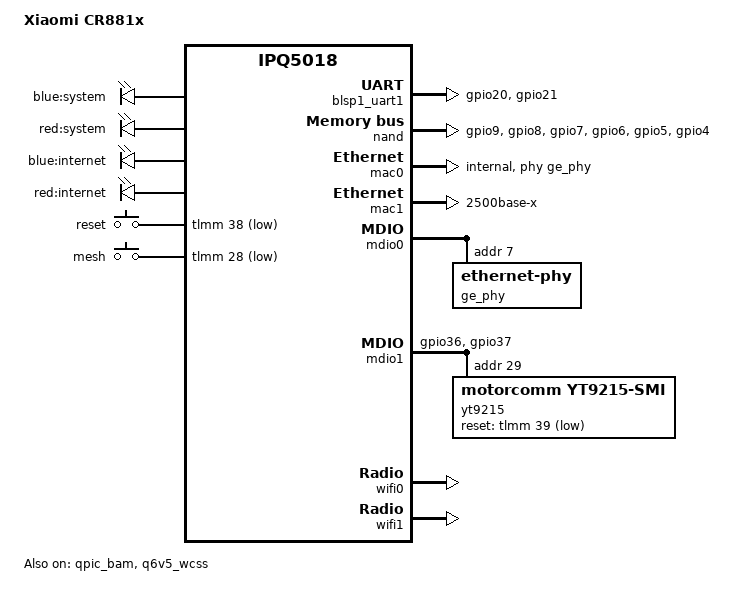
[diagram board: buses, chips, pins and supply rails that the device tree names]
// SPDX-License-Identifier: (GPL-2.0+)

/dts-v1/;

#include "ipq5018.dtsi"
#include <dt-bindings/gpio/gpio.h>
#include <dt-bindings/input/input.h>

/ {
	model = "Xiaomi CR881x";
	compatible = "xiaomi,cr881x", "qcom,ipq5018";

	#address-cells = <2>;
	#size-cells = <2>;
	interrupt-parent = <&intc>;

	aliases {
		serial0 = &blsp1_uart1;

		ethernet0 = &mac0;
		ethernet1 = &mac1;

		led-boot = &led_system_blue;
		led-failsafe = &led_system_red;
		led-running = &led_system_blue;
		led-upgrade = &led_system_red;
	};

	chosen {
		// Override the root parameter from u-boot
		// Increase coherent_pool size for WiFi
		bootargs-append = " root=/dev/ubiblock0_1 coherent_pool=2M";
		stdout-path = "serial0:115200n8";
	};

	reserved-memory {
		// Not sure why but without this, WiFi will crash
		tz_apps@4a400000 {
			no-map;
			// The size is incorrent, but it works
			reg = <0x0 0x4a400000 0x0 0x700000>;
		};

		q6_mem_regions: q6_mem_regions@4b000000 {
			no-map;
			// reg = <0x0 0x4b000000 0x0 0x3b00000>;
			reg = <0x0 0x4b000000 0x0 0x3000000>;
		};
	};

	thermal-zones {
		status = "ok";
	};
};

&tlmm {
	blsp_uart0_pins: blsp_uart0_pins {
		pins =
			"gpio20", // RX
			"gpio21"; // TX
		function = "blsp0_uart0";
		drive-strength = <8>;
		bias-disable;
	};

	qspi_nand_pins: qspi_nand_pins {
		clock {
			pins = "gpio9";
			function = "qspi_clk";
			drive-strength = <8>;
			bias-disable;
		};

		cs {
			pins = "gpio8";
			function = "qspi_cs";
			drive-strength = <8>;
			bias-disable;
		};

		data0 {
			pins = "gpio7";
			function = "qspi0";
			drive-strength = <8>;
			bias-disable;
		};

		data1 {
			pins = "gpio6";
			function = "qspi1";
			drive-strength = <8>;
			bias-disable;
		};

		data2 {
			pins = "gpio5";
			function = "qspi2";
			drive-strength = <8>;
			bias-disable;
		};

		data3 {
			pins = "gpio4";
			function = "qspi3";
			drive-strength = <8>;
			bias-disable;
		};
	};

	mdio1_pins: mdio1_pins {
		mdc {
			pins = "gpio36";
			function = "mdc";
			drive-strength = <8>;
			bias-pull-up;
		};

		mdio {
			pins = "gpio37";
			function = "mdio";
			drive-strength = <8>;
			bias-pull-up;
		};
	};

	leds_pins: leds_pins {
		led_system_blue {
			pins = "gpio24";
			function = "gpio";
			drive-strength = <8>;
			bias-pull-down;
		};

		led_system_red {
			pins = "gpio25";
			function = "gpio";
			drive-strength = <8>;
			bias-pull-down;
		};

		led_internet_blue {
			pins = "gpio26";
			function = "gpio";
			drive-strength = <8>;
			bias-pull-down;
		};

		led_internet_red {
			pins = "gpio27";
			function = "gpio";
			drive-strength = <8>;
			bias-pull-down;
		};
	};

	button_pins: button_pins {
		button_reset {
			pins = "gpio38";
			function = "gpio";
			drive-strength = <8>;
			bias-pull-up;
		};

		button_mesh {
			pins = "gpio28";
			function = "gpio";
			drive-strength = <8>;
			bias-pull-up;
		};
	};
};

&blsp1_uart1 {
	pinctrl-0 = <&blsp_uart0_pins>;
	pinctrl-names = "default";
	status = "ok";
};

&qpic_bam {
	status = "ok";
};

&nand {
	pinctrl-0 = <&qspi_nand_pins>;
	pinctrl-names = "default";
	status = "ok";
};

&soc {
	leds {
		compatible = "gpio-leds";
		pinctrl-0 = <&leds_pins>;
		pinctrl-names = "default";

		led_system_blue: led_system_blue {
			label = "blue:system";
			gpio = <&tlmm 24 GPIO_ACTIVE_HIGH>;
			default-state = "on";
		};

		led_system_red: led_system_red {
			label = "red:system";
			gpio = <&tlmm 25 GPIO_ACTIVE_HIGH>;
		};

		led_internet_blue: led_internet_blue {
			label = "blue:internet";
			gpio = <&tlmm 26 GPIO_ACTIVE_HIGH>;
		};

		led_internet_red: led_internet_red {
			label = "red:internet";
			gpio = <&tlmm 27 GPIO_ACTIVE_HIGH>;
		};
	};

	button {
		compatible = "gpio-keys";
		pinctrl-0 = <&button_pins>;
		pinctrl-names = "default";

		button_reset {
			label = "reset";
			gpios = <&tlmm 38 GPIO_ACTIVE_LOW>;
			linux,input-type = <EV_KEY>;
			linux,code = <KEY_RESTART>;
			debounce-interval = <60>;
		};

		button_mesh {
			label = "mesh";
			gpios = <&tlmm 28 GPIO_ACTIVE_LOW>;
			linux,input-type = <EV_KEY>;
			linux,code = <KEY_WPS_BUTTON>;
			debounce-interval = <60>;
		};
	};

	ess-instance {
		num_devices = <1>;

		// Dummy switch, to describe how the external ports connects to the MAC
		// For example, some chips have PSGMII ports which combine 5 MAC into
		// 1 external port.
		// For IPQ50xx, this is used to choose SGMII or SGMII-plus
		ess-switch@0x39c00000 {
			compatible = "qcom,ess-switch-ipq50xx";
			device_id = <0>;

			cmnblk_clk = "internal_96MHz";

			// MAC1 Mode
			switch_mac_mode = <0xc>; // PORT_WRAPPER_SGMII_PLUS
			// switch_mac_mode = <0xf>; // PORT_WRAPPER_SGMII_CHANNEL0

			qcom,port_phyinfo {
				// MAC0 -> GE Phy -> YT9215 Phy4
				port@0 {
					port_id = <1>;

					mdiobus = <&mdio0>;
					phy_address = <7>;

					phy_dac = <0x10 0x10>;
				};

				// MAC1 ---SGMII---> YT9215 SerDes
				port@1 {
					port_id = <2>;

					forced-speed = <2500>;
					forced-duplex = <1>;
				};
			};
		};
	};

	// MAC0 -> GE Phy
	mac0: dp1 {
		compatible = "qcom,nss-dp";
		device_type = "network";
		qcom,id = <1>;

		reg = <0x39C00000 0x10000>;
		interrupts = <GIC_SPI 101 IRQ_TYPE_LEVEL_HIGH>;
		clocks = <&gcc GCC_SNOC_GMAC0_AXI_CLK>;
		clock-names = "nss-snoc-gmac-axi-clk";

		qcom,mactype = <2>; // GMAC_HAL_TYPE_SYN_GMAC
		local-mac-address = [000000000000];
		phy-handle = <&ge_phy>;
		phy-mode = "internal";
	};

	// MAC1 ---SGMII---> YT9215 SerDes
	mac1: dp2 {
		compatible = "qcom,nss-dp";
		device_type = "network";
		qcom,id = <2>;

		reg = <0x39D00000 0x10000>;
		interrupts = <GIC_SPI 109 IRQ_TYPE_LEVEL_HIGH>;
		clocks = <&gcc GCC_SNOC_GMAC1_AXI_CLK>;
		clock-names = "nss-snoc-gmac-axi-clk";

		qcom,mactype = <2>; // GMAC_HAL_TYPE_SYN_GMAC
		local-mac-address = [000000000000];
		phy-mode = "2500base-x";
	};
};

&mdio0 {
	status = "ok";

	resets = <&gcc GCC_GEPHY_MDC_SW_ARES>;
	reset-names = "phy";

	// IPQ5018 GE Phy -> YT9215 Phy4
	ge_phy: ethernet-phy@0 {
		reg = <7>;
	};
};

&mdio1 {
	pinctrl-0 = <&mdio1_pins>;
	pinctrl-names = "default";
	status = "ok";

	// Motorcomm YT9215
	yt9215: switch@1d {
		compatible = "motorcomm,yt9215-smi";
		reg = <29>;
		switchid = <0>;

		reset-gpios = <&tlmm 39 GPIO_ACTIVE_LOW>;
		reset-assert-us = <10000>; /* 10ms */
		reset-deassert-us = <50000>; /* 50ms */

		ports {
			// MAC0 -> Phy0 -> LAN1
			port@0 {
				reg = <0>;
			};

			// MAC1 -> Phy1 -> LAN2
			port@1 {
				reg = <1>;
			};

			// MAC2 -> Phy2 -> LAN3
			port@2 {
				reg = <2>;
			};

			// MAC3 -> Phy3 -> WAN
			port@3 {
				reg = <3>;
			};

			// MAC4 -> Phy4 -> IPQ5018 GE Phy
			port@4 {
				reg = <4>;
			};

			// MAC8 ---SGMII+---> IPQ5018 MAC1
			port@8 {
				reg = <8>;
				phy-mode = "2500base-x";

				fixed-link {
					speed = <2500>;
					full-duplex;
				};
			};
		};
	};
};

&q6v5_wcss {
	memory-region = <&q6_mem_regions>;

	qcom,rproc = <&q6v5_wcss>;
	firmware = "IPQ5018/q6_fw.mdt";

	qcom,bootargs_smem = <507>;
	boot-args = <0x2 0x4 0x2 18 0x0 0x0>; /* reset pin: GPIO18 */

	status = "ok";

	// IPQ5018
	q6_wcss_pd1: remoteproc_pd1@4ab000 {
		compatible = "qcom,ipq5018-wcss-ahb-mpd";

		resets =
			<&gcc GCC_WCSSAON_RESET>,
			<&gcc GCC_WCSS_BCR>,
			<&gcc GCC_CE_BCR>;
		reset-names =
			"wcss_aon_reset",
			"wcss_reset",
			"ce_reset";

		clocks =
			<&gcc GCC_WCSS_AHB_S_CLK>,
			<&gcc GCC_WCSS_ACMT_CLK>,
			<&gcc GCC_WCSS_AXI_M_CLK>;
		clock-names =
			"gcc_wcss_ahb_s_clk",
					"gcc_wcss_acmt_clk",
					"gcc_wcss_axi_m_clk";

		reg = <0x4ab000 0x20>;
		reg-names = "rmb";

		// qcom,halt-regs = <&tcsr_q6_block 0xa000 0xd000 0x0>;

		interrupts-extended =
			<&wcss_smp2p_in 8 0>,
			<&wcss_smp2p_in 9 0>,
			<&wcss_smp2p_in 12 0>,
			<&wcss_smp2p_in 11 0>;
		interrupt-names =
			"fatal",
			"ready",
			"spawn-ack",
			"stop-ack";

		qcom,smem-states =
			<&wcss_smp2p_out 8>,
			<&wcss_smp2p_out 9>,
			<&wcss_smp2p_out 10>;
		qcom,smem-state-names =
			"shutdown",
			"stop",
			"spawn";

		firmware = "IPQ5018/q6_fw.mdt";
		m3_firmware = "IPQ5018/m3_fw.mdt";
	};

	// QCN6102
	q6_wcss_pd2: remoteproc_pd2 {
		compatible = "qcom,ipq5018-wcss-pcie-mpd";

		interrupts-extended =
			<&wcss_smp2p_in 16 0>,
			<&wcss_smp2p_in 17 0>,
			<&wcss_smp2p_in 20 0>,
			<&wcss_smp2p_in 19 0>;
		interrupt-names =
			"fatal",
			"ready",
			"spawn-ack",
			"stop-ack";

		qcom,smem-states =
			<&wcss_smp2p_out 16>,
			<&wcss_smp2p_out 17>,
			<&wcss_smp2p_out 18>;
		qcom,smem-state-names =
			"shutdown",
			"stop",
			"spawn";

		firmware = "IPQ5018/q6_fw.mdt";
		m3_firmware = "qcn6122/m3_fw.mdt";
	};
};

&wifi0 {
	// IPQ5018
	qcom,multipd_arch;
	qcom,rproc = <&q6_wcss_pd1>;
	qcom,userpd-subsys-name = "q6v5_wcss_userpd1";

	qcom,board_id = <0x23>;

	// qcom,ath11k-fw-memory-mode = <0>;
	// qcom,bdf-addr = <0x4c400000>;
	// qcom,caldb-addr = <0x4d200000>;
	// qcom,m3-dump-addr = <0x4d400000>;

	qcom,ath11k-fw-memory-mode = <2>;
	qcom,bdf-addr = <0x4c400000>;

	status = "ok";
};

&wifi1 {
	// QCN6102
	qcom,multipd_arch;
	qcom,rproc = <&q6_wcss_pd2>;
	qcom,userpd-subsys-name = "q6v5_wcss_userpd2";

	qcom,board_id = <0x60>;

	// qcom,ath11k-fw-memory-mode = <0>;
	// qcom,bdf-addr = <0x4d500000>;
	// qcom,caldb-addr = <0x4e500000>;
	// qcom,m3-dump-addr = <0x4ea00000>;

	qcom,ath11k-fw-memory-mode = <2>;
	qcom,bdf-addr = <0x4d100000>;
	qcom,m3-dump-addr = <0x4df00000>;

	status = "ok";
};
